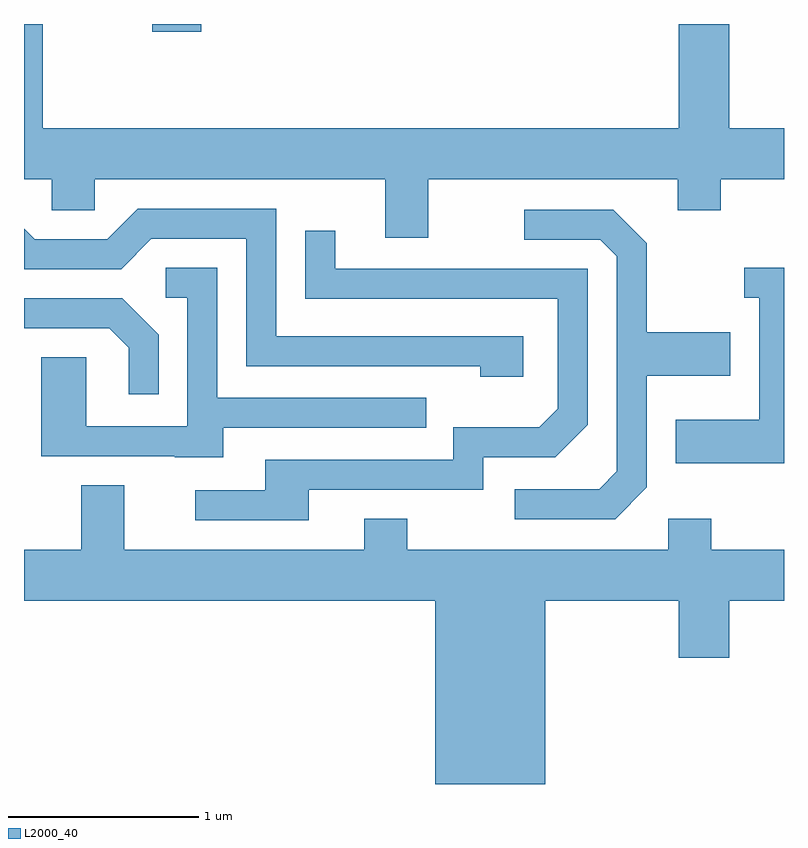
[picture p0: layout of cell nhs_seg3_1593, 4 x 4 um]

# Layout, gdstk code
import gdstk
lib = gdstk.Library(unit=1e-6, precision=1e-09)
def R(c, l, rs):  # rectangles x0, y0, x1, y1
    for r in rs: c.add(gdstk.rectangle(r[:2], r[2:], *l))
def P(c, l, *ps):  # polygons
    for p in ps: c.add(gdstk.Polygon(p, *l))
L2000_40 = (2000, 40)

nhs_seg3_1593 = lib.new_cell('nhs_seg3_1593')
R(nhs_seg3_1593, L2000_40, [(232.286,1177.851,232.544,1177.892)])
P(nhs_seg3_1593, L2000_40, [(233.739,1177.076),(235.051,1177.076),(235.051,1176.911),(235.279,1176.911),(235.279,1177.076),(235.611,1177.076),(235.611,1177.344),(235.324,1177.344),(235.324,1177.892),(235.056,1177.892),(235.056,1177.344),(231.709,1177.344),(231.709,1177.892),(231.611,1177.892),(231.611,1177.076),(231.756,1177.076),(231.756,1176.911),(231.984,1176.911),(231.984,1177.076),(233.511,1177.076),(233.511,1176.766),(233.739,1176.766)],
  [(234.239,1176.249),(232.939,1176.249),(232.939,1176.919),(232.209,1176.919),(232.049,1176.759),(231.667,1176.759),(231.611,1176.815),(231.611,1176.601),(232.122,1176.601),(232.282,1176.761),(232.781,1176.761),(232.781,1176.091),(234.011,1176.091),(234.011,1176.036),(234.239,1176.036)],
  [(234.889,1175.454),(234.889,1176.041),(235.329,1176.041),(235.329,1176.269),(234.889,1176.269),(234.889,1176.737),(234.712,1176.914),(234.243,1176.914),(234.243,1176.756),(234.644,1176.756),(234.731,1176.669),(234.731,1175.537),(234.639,1175.444),(234.193,1175.444),(234.193,1175.286),(234.722,1175.286)],
  [(233.109,1175.441),(234.029,1175.441),(234.029,1175.611),(234.407,1175.611),(234.579,1175.784),(234.579,1176.604),(233.249,1176.604),(233.249,1176.803),(233.091,1176.803),(233.091,1176.446),(234.421,1176.446),(234.421,1175.867),(234.324,1175.769),(233.871,1175.769),(233.871,1175.599),(232.881,1175.599),(232.881,1175.439),(232.513,1175.439),(232.513,1175.281),(233.109,1175.281)],
  [(232.659,1175.766),(233.728,1175.766),(233.728,1175.924),(232.629,1175.924),(232.629,1176.609),(232.358,1176.609),(232.358,1176.451),(232.471,1176.451),(232.471,1175.774),(231.939,1175.774),(231.939,1176.139),(231.701,1176.139),(231.701,1175.616),(232.405,1175.616),(232.405,1175.611),(232.659,1175.611)],
  [(235.611,1176.609),(235.403,1176.609),(235.403,1176.451),(235.481,1176.451),(235.481,1175.809),(235.041,1175.809),(235.041,1175.581),(235.611,1175.581)],
  [(232.319,1176.257),(232.127,1176.449),(231.611,1176.449),(231.611,1176.291),(232.059,1176.291),(232.161,1176.189),(232.161,1175.943),(232.319,1175.943)],
  [(235.001,1175.289),(235.001,1175.124),(233.629,1175.124),(233.629,1175.289),(233.401,1175.289),(233.401,1175.124),(232.139,1175.124),(232.139,1175.464),(231.911,1175.464),(231.911,1175.124),(231.611,1175.124),(231.611,1174.856),(233.776,1174.856),(233.776,1173.892),(234.354,1173.892),(234.354,1174.856),(235.056,1174.856),(235.056,1174.556),(235.324,1174.556),(235.324,1174.856),(235.611,1174.856),(235.611,1175.124),(235.229,1175.124),(235.229,1175.289)])

lib.write_gds('nhs_seg3_1593.gds')
